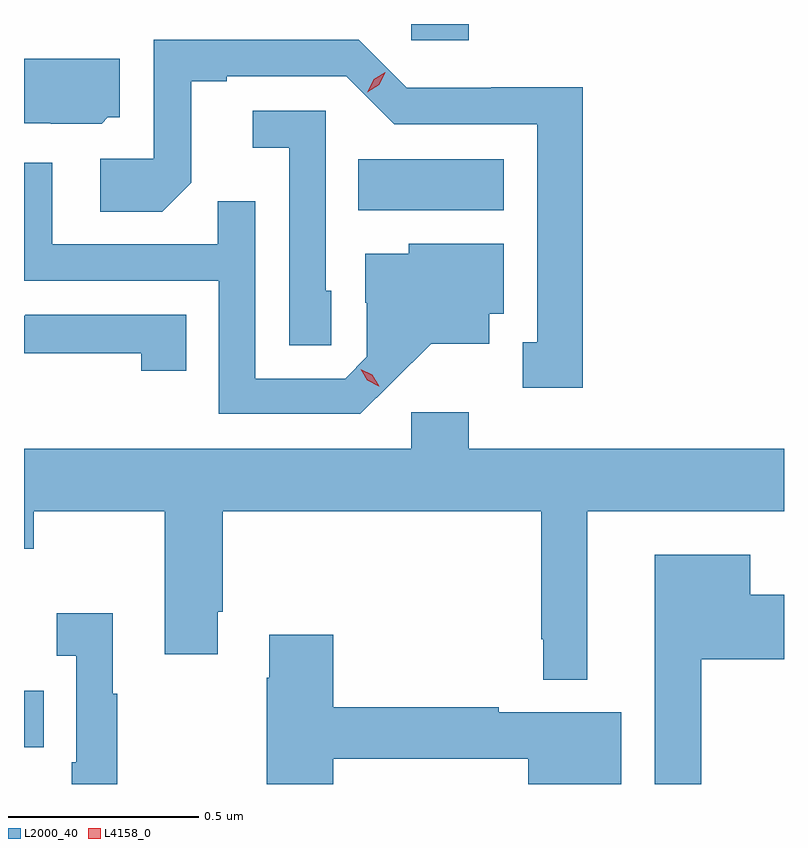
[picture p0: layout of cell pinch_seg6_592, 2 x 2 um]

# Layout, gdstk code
import gdstk
lib = gdstk.Library(unit=1e-6, precision=1e-09)
def R(c, l, rs):  # rectangles x0, y0, x1, y1
    for r in rs: c.add(gdstk.rectangle(r[:2], r[2:], *l))
def P(c, l, *ps):  # polygons
    for p in ps: c.add(gdstk.Polygon(p, *l))
L2000_40 = (2000, 40)
L4158_0 = (4158, 0)

pinch_seg6_592 = lib.new_cell('pinch_seg6_592')
R(pinch_seg6_592, L2000_40, [(598.693,956.039,598.745,956.187), (599.572,957.452,599.956,957.586), (599.712,957.899,599.864,957.942)])
P(pinch_seg6_592, L2000_40, [(600.163,957.776),(599.922,957.776),(599.922,957.774),(599.7,957.774),(599.574,957.9),(599.034,957.9),(599.034,957.588),(598.893,957.588),(598.893,957.448),(599.057,957.448),(599.133,957.524),(599.133,957.792),(599.227,957.792),(599.227,957.804),(599.541,957.804),(599.667,957.678),(600.044,957.678),(600.044,957.105),(600.005,957.105),(600.005,956.985),(600.163,956.985)],
  [(598.914,957.696),(598.945,957.696),(598.945,957.85),(598.693,957.85),(598.693,957.681),(598.764,957.681),(598.764,957.68),(598.898,957.68)],
  [(599.502,957.24),(599.487,957.24),(599.487,957.714),(599.295,957.714),(599.295,957.617),(599.391,957.617),(599.391,957.097),(599.502,957.097)],
  [(599.662,956.999),(599.765,957.101),(599.917,957.101),(599.917,957.18),(599.956,957.18),(599.956,957.364),(599.706,957.364),(599.706,957.337),(599.591,957.337),(599.591,957.208),(599.595,957.208),(599.595,957.066),(599.538,957.009),(599.301,957.009),(599.301,957.476),(599.203,957.476),(599.203,957.363),(598.767,957.363),(598.767,957.577),(598.693,957.577),(598.693,957.267),(599.205,957.267),(599.205,956.916),(599.578,956.916)],
  [(599.12,957.177),(598.696,957.177),(598.696,957.174),(598.693,957.174),(598.693,957.076),(599.002,957.076),(599.002,957.03),(599.12,957.03)],
  [(600.175,956.66),(600.693,956.66),(600.693,956.824),(599.864,956.824),(599.864,956.92),(599.712,956.92),(599.712,956.824),(598.693,956.824),(598.693,956.561),(598.719,956.561),(598.719,956.66),(599.063,956.66),(599.063,956.283),(599.203,956.283),(599.203,956.395),(599.216,956.395),(599.216,956.66),(600.054,956.66),(600.054,956.323),(600.06,956.323),(600.06,956.216),(600.175,956.216)],
  [(600.475,956.27),(600.693,956.27),(600.693,956.44),(600.604,956.44),(600.604,956.545),(600.353,956.545),(600.353,955.942),(600.475,955.942)],
  [(598.939,956.179),(598.927,956.179),(598.927,956.392),(598.779,956.392),(598.779,956.279),(598.83,956.279),(598.83,955.999),(598.818,955.999),(598.818,955.942),(598.939,955.942)],
  [(599.507,956.008),(600.02,956.008),(600.02,955.942),(600.265,955.942),(600.265,956.131),(599.942,956.131),(599.942,956.144),(599.507,956.144),(599.507,956.335),(599.339,956.335),(599.339,956.222),(599.332,956.222),(599.332,955.942),(599.507,955.942)])
P(pinch_seg6_592, L4158_0, [(599.596,957.762),(599.596,957.763),(599.613,957.796),(599.644,957.815),(599.644,957.815),(599.644,957.815),(599.628,957.782),(599.596,957.762)],
  [(599.627,956.989),(599.596,957.004),(599.579,957.033),(599.579,957.034),(599.579,957.034),(599.61,957.019),(599.628,956.989),(599.628,956.989)])

lib.write_gds('pinch_seg6_592.gds')
